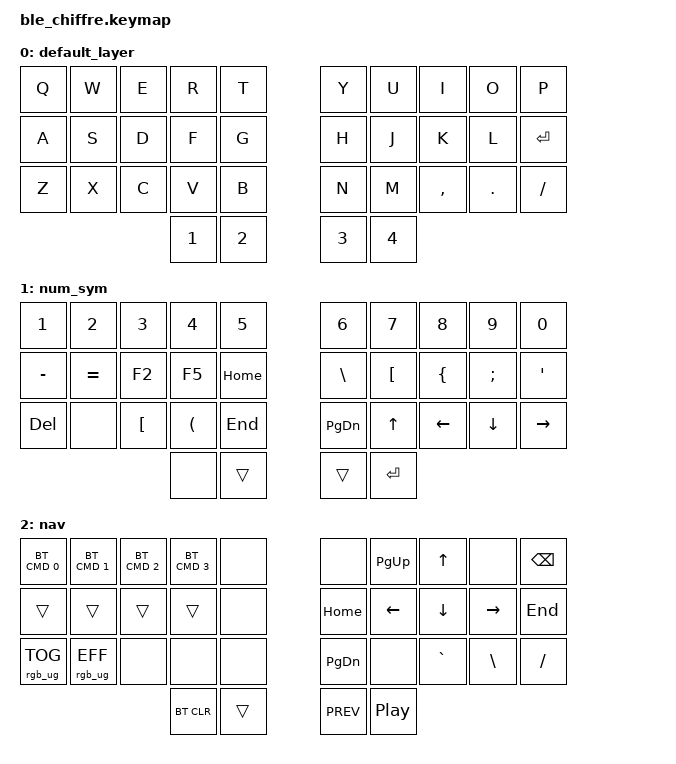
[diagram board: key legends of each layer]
/*
 * Copyright (c) 2020 The ZMK Contributors
 *
 * SPDX-License-Identifier: MIT
 */

#include <behaviors.dtsi>
#include <dt-bindings/zmk/bt.h>
#include <dt-bindings/zmk/keys.h>
#include <dt-bindings/zmk/rgb.h>

#define DEFAULT 0
#define NUM_SYM 1
#define NAV     2

/ {
    behaviors {
        rst: boot_reset {
            compatible = "zmk,behavior-hold-tap";
            label = "Bootloader Tap - Reset Hold";
            #binding-cells = <2>;
            tapping_term_ms = <200>;
            flavor = "balanced";
            bindings = <&sys_reset>, <&bootloader>;
        };
        bh: layer_taps {
            compatible = "zmk,behavior-hold-tap";
            label = "Layer-Tap";
            #binding-cells = <2>;
            tapping_term_ms = <215>;
            flavor = "tap-preferred";
            bindings = <&mo>, <&kp>;
        };
        hm: homerow_mods0 {
            compatible = "zmk,behavior-hold-tap";
            label = "homerow mods";
            #binding-cells = <2>;
            tapping_term_ms = <230>;
            flavor = "tap-preferred";
            bindings = <&kp>, <&kp>;
        };
        hm1: homerow_mods1 {
            compatible = "zmk,behavior-hold-tap";
            label = "homerow mods";
            #binding-cells = <2>;
            tapping_term_ms = <205>;
            flavor = "tap-preferred";
            bindings = <&kp>, <&kp>;
        };
        hm2: homerow_mods2 {
            compatible = "zmk,behavior-hold-tap";
            label = "homerow mods 2";
            #binding-cells = <2>;
            tapping_term_ms = <250>;
            flavor = "tap-preferred";
            bindings = <&kp>, <&kp>;
        };
        com_col: comma_semicolon {
            compatible = "zmk,behavior-hold-tap";
            label = "Tap comma_hold colon";
            #binding-cells = <2>;
            tapping_term_ms = <150>;
            flavor = "balanced";
            bindings = <&kp>, <&kp>;
        };
    };
};

/ {
    combos {
        compatible = "zmk,combos";

        combo_backspce {
            timeout-ms = <50>;
            key-positions = <8 9>;
            bindings = <&kp BSPC>;
        };

        combo_gesc {
            timeout-ms = <30>;
            key-positions = <0 1>;
            bindings = <&com_col GRAVE ESC>;
        };

        combo_tab {
            timeout-ms = <35>;
            key-positions = <11 12>;
            bindings = <&kp TAB>;
        };

        combo_mnxt {
            timeout-ms = <30>;
            key-positions = <28 29>;
            bindings = <&kp C_NEXT>;
        };

        combo_mprev {
            timeout-ms = <30>;
            key-positions = <27 28>;
            bindings = <&kp C_PREV>;
        };

        combo_mpp {
            timeout-ms = <30>;
            key-positions = <27 29>;
            bindings = <&kp C_PP>;
        };

        combo_del {
            timeout-ms = <40>;
            key-positions = <7 8 9>;
            bindings = <&kp DEL>;
        };

        combo_ent {
            timeout-ms = <30>;
            key-positions = <17 18>;
            bindings = <&kp RET>;
        };

        combo_ent2 {
            timeout-ms = <30>;
            key-positions = <2 3>;
            bindings = <&kp RET>;
        };
    };
};

/ {
    keymap {
        compatible = "zmk,keymap";

        default_layer {
            bindings = <
&kp Q   &kp W   &kp E   &kp R   &kp T  &kp Y  &kp U  &kp I      &kp O    &kp P
&kp A   &kp S   &kp D   &kp F   &kp G  &kp H  &kp J  &kp K      &kp L    &kp RET
&kp Z   &kp X   &kp C   &kp V   &kp B  &kp N  &kp M  &kp COMMA  &kp DOT  &kp FSLH
&kp N1  &kp N2  &kp N3  &kp N4
            >;
        };

        num_sym {
            bindings = <
&kp N1     &kp N2     &kp N3    &kp N4    &kp N5    &kp N6     &kp N7    &kp N8    &kp N9    &kp N0
&kp MINUS  &kp EQUAL  &kp F2    &kp F5    &kp HOME  &kp BSLH   &kp LBKT  &kp LBRC  &kp SEMI  &kp SQT
&kp DEL    &none      &kp LBKT  &kp LPAR  &kp END   &kp PG_DN  &kp UP    &kp LEFT  &kp DOWN  &kp RIGHT
&none      &trans     &trans    &kp RET
            >;
        };

        nav {
            bindings = <
&bt BT_SEL_CMD 0  &bt BT_SEL_CMD 1  &bt BT_SEL_CMD 2  &bt BT_SEL_CMD 3  &none  &none      &kp PG_UP  &kp UP     &none      &kp BSPC
&trans            &trans            &trans            &trans            &none  &kp HOME   &kp LEFT   &kp DOWN   &kp RIGHT  &kp END
&rgb_ug RGB_TOG   &rgb_ug RGB_EFF   &none             &none             &none  &kp PG_DN  &none      &kp GRAVE  &kp BSLH   &kp FSLH
&bt BT_CLR        &trans            &kp C_PREV        &kp C_PP
            >;
        };
    };
};
